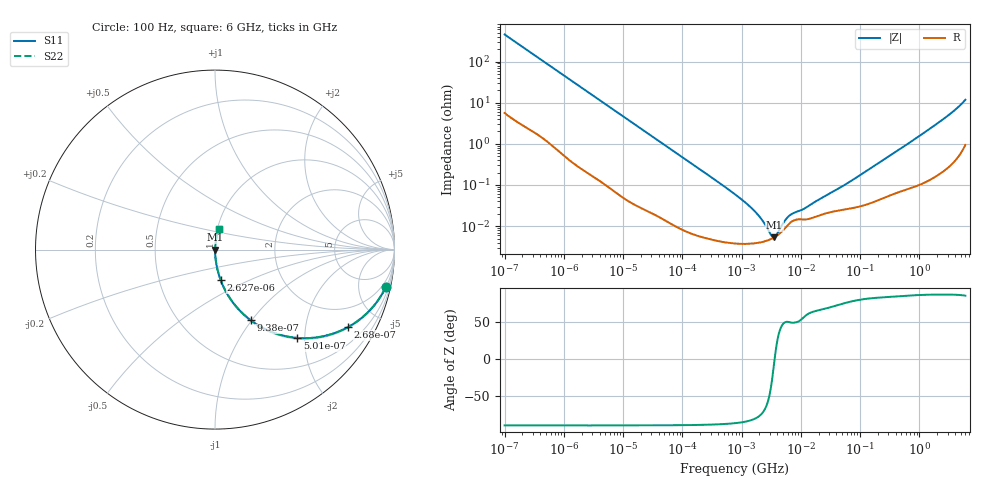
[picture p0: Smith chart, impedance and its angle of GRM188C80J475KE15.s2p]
!Murata Part Number: GRM188C80J475KE15
!These Parameters are Measured in Series Mode Connection
!Data Generated on Mar 30, 2021
!  o--ll--o
!Port1  Port2
!  o------o
!Operation Temp=25[degC], DC Bias Voltage=0[V]
!Freq. Start=100[Hz] Stop=6[GHz] 401[Steps]
# Hz S RI R 50
!Freq.(Hz) S11(Real) S11(Imag) S21(Real) S21(Imag) S12(Real) S12(Imag) S22(Real) S22(Imag)
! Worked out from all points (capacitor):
!   401 points, 100 Hz to 6 GHz, reference 50 ohm
!   read as one part in series: C = 3.5 uF near 109 Hz
!   lowest |Z| = 5.38 mohm at 3.55 MHz (marker M1)
!   series resonance near 3.614 MHz, so ESL is about 550 pH
!   S11 on the Smith chart (normalised r, x): 100 Hz: 1.11, -9.08; 268 Hz: 1.04, -3.41; 501 Hz: 1.02, -1.84; 938 Hz: 1.01, -0.99; 2.627 kHz: 1.00, -0.35; 6 GHz: 1.02, +0.23
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100  0.9514 -0.2089  0.0486 0.2089  0.0486 0.2089  0.9514 -0.2089
164  0.8827 -0.3158  0.1173 0.3158  0.1173 0.3158  0.8827 -0.3158
268  0.7418 -0.4312  0.2582 0.4312  0.2582 0.4312  0.7418 -0.4312
501  0.4577 -0.4918  0.5423 0.4918  0.5423 0.4918  0.4577 -0.4918
938  0.1981 -0.393  0.8019 0.393  0.8019 0.393  0.1981 -0.393
1342  0.109 -0.3064  0.891 0.3064  0.891 0.3064  0.109 -0.3064
2008  0.0528 -0.2184  0.9472 0.2184  0.9472 0.2184  0.0528 -0.2184
2627  0.0321 -0.171  0.9679 0.171  0.9679 0.171  0.0321 -0.171
8047  0.00398 -0.058  0.996 0.058  0.996 0.058  0.00398 -0.058
40335  0.000305 -0.0117  0.9997 0.0117  0.9997 0.0117  0.000305 -0.0117
774597  3.83e-05 -0.000594  1 0.000594  1 0.000594  3.83e-05 -0.000594
1585629  3.82e-05 -0.000246  1 0.000246  1 0.000246  3.82e-05 -0.000246
2594782  4.4e-05 -9.01e-05  1 9.01e-05  1 9.01e-05  4.4e-05 -9.01e-05
3549919  5.36e-05 -4.7e-06  0.9999 4.7e-06  0.9999 4.7e-06  5.36e-05 -4.7e-06
4643984  7.13e-05 6.65e-05  0.9999 -6.65e-05  0.9999 -6.65e-05  7.13e-05 6.65e-05
6644369  0.000122 0.000143  0.9999 -0.000143  0.9999 -0.000143  0.000122 0.000143
1.087309e7  0.000146 0.000212  0.9999 -0.000212  0.9999 -0.000212  0.000146 0.000212
1.555665e7  0.000159 0.000317  0.9998 -0.000317  0.9998 -0.000317  0.000159 0.000317
5.960426e7  0.000261 0.00105  0.9997 -0.00105  0.9997 -0.00105  0.000261 0.00105
3.124326e8  0.000577 0.00504  0.9994 -0.00504  0.9994 -0.00504  0.000577 0.00504
2.240541e9  0.00309 0.0348  0.9969 -0.0348  0.9969 -0.0348  0.00309 0.0348
6e9  0.0226 0.1138  0.9774 -0.1138  0.9774 -0.1138  0.0226 0.1138
